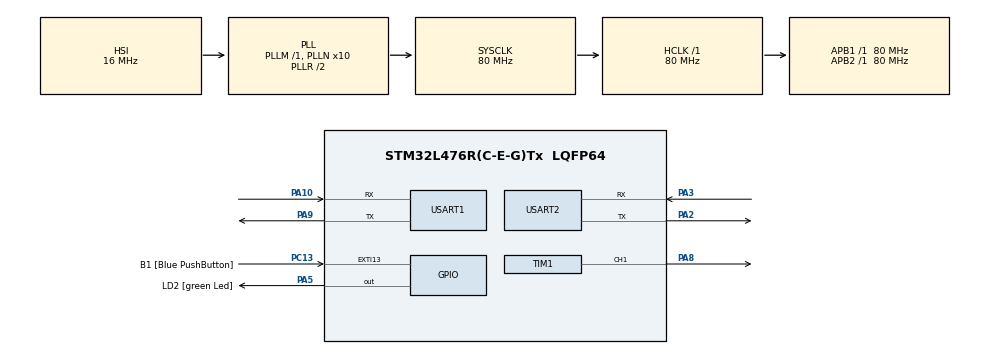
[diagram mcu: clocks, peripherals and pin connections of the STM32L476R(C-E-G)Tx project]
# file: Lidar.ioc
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Dma.Request0=USART1_RX
Dma.USART1_RX.0.Direction=DMA_PERIPH_TO_MEMORY
Dma.USART1_RX.0.Instance=DMA1_Channel5
Dma.USART1_RX.0.MemDataAlignment=DMA_MDATAALIGN_BYTE
Dma.USART1_RX.0.MemInc=DMA_MINC_ENABLE
Dma.USART1_RX.0.Mode=DMA_CIRCULAR
Dma.USART1_RX.0.PeriphDataAlignment=DMA_PDATAALIGN_BYTE
Dma.USART1_RX.0.PeriphInc=DMA_PINC_DISABLE
Dma.USART1_RX.0.Priority=DMA_PRIORITY_MEDIUM
FREERTOS.INCLUDE_uxTaskGetStackHighWaterMark2=1
FREERTOS.Tasks01=main,24,256,StartMain,Default,NULL,Dynamic,NULL,NULL;ParseLiDAR,25,512,StartParseLiDAR,Default,NULL,Dynamic,NULL,NULL
FREERTOS.configTOTAL_HEAP_SIZE=10000
FREERTOS.configUSE_NEWLIB_REENTRANT=1
Mcu.Family=STM32L4
Mcu.Name=STM32L476R(C-E-G)Tx
Mcu.Package=LQFP64
NVIC.DMA1_Channel5_IRQn=true\:5\:0\:false\:false\:true\:true\:false\:true\:true
NVIC.PriorityGroup=NVIC_PRIORITYGROUP_4
NVIC.TIM6_DAC_IRQn=true\:15\:0\:false\:false\:true\:false\:false\:true\:true
NVIC.TimeBase=TIM6_DAC_IRQn
NVIC.TimeBaseIP=TIM6
NVIC.USART1_IRQn=true\:5\:0\:false\:false\:true\:true\:true\:true\:true
PA10.Mode=Asynchronous
PA10.Signal=USART1_RX
PA13\ (JTMS-SWDIO).GPIO_Label=TMS
PA13\ (JTMS-SWDIO).Mode=Serial_Wire
PA13\ (JTMS-SWDIO).Signal=SYS_JTMS-SWDIO
PA14\ (JTCK-SWCLK).GPIO_Label=TCK
PA14\ (JTCK-SWCLK).Mode=Serial_Wire
PA14\ (JTCK-SWCLK).Signal=SYS_JTCK-SWCLK
PA2.GPIO_Mode=GPIO_MODE_AF_PP
PA2.GPIO_ModeDefaultPP=GPIO_MODE_AF_PP
PA2.GPIO_PuPd=GPIO_NOPULL
PA2.GPIO_Speed=GPIO_SPEED_FREQ_VERY_HIGH
PA2.Mode=Asynchronous
PA2.Signal=USART2_TX
PA3.GPIO_Mode=GPIO_MODE_AF_PP
PA3.GPIO_ModeDefaultPP=GPIO_MODE_AF_PP
PA3.GPIO_PuPd=GPIO_NOPULL
PA3.GPIO_Speed=GPIO_SPEED_FREQ_VERY_HIGH
PA3.Mode=Asynchronous
PA3.Signal=USART2_RX
PA5.GPIO_Label=LD2 [green Led]
PA5.GPIO_ModeDefaultOutputPP=GPIO_MODE_OUTPUT_PP
PA5.GPIO_PuPd=GPIO_NOPULL
PA5.GPIO_Speed=GPIO_SPEED_FREQ_LOW
PA5.Signal=GPIO_Output
PA8.Signal=S_TIM1_CH1
PA9.Mode=Asynchronous
PA9.Signal=USART1_TX
PB3\ (JTDO-TRACESWO).GPIO_Label=SWO
PB3\ (JTDO-TRACESWO).Signal=SYS_JTDO-SWO
PC13.GPIO_Label=B1 [Blue PushButton]
PC13.GPIO_ModeDefaultEXTI=GPIO_MODE_IT_FALLING
PC13.GPIO_PuPd=GPIO_NOPULL
PC13.Signal=GPXTI13
PC14-OSC32_IN\ (PC14).Mode=LSE-External-Oscillator
PC14-OSC32_IN\ (PC14).Signal=RCC_OSC32_IN
PC15-OSC32_OUT\ (PC15).Mode=LSE-External-Oscillator
PC15-OSC32_OUT\ (PC15).Signal=RCC_OSC32_OUT
PH0-OSC_IN\ (PH0).Signal=RCC_OSC_IN
PH1-OSC_OUT\ (PH1).Signal=RCC_OSC_OUT
ProjectManager.HeapSize=0x200
ProjectManager.StackSize=0x400
ProjectManager.TargetToolchain=STM32CubeIDE
RCC.ADCFreq_Value=64000000
RCC.AHBFreq_Value=80000000
RCC.APB1Freq_Value=80000000
RCC.APB1TimFreq_Value=80000000
RCC.APB2Freq_Value=80000000
RCC.APB2TimFreq_Value=80000000
RCC.CortexFreq_Value=80000000
RCC.HCLKFreq_Value=80000000
RCC.HSE_VALUE=8000000
RCC.HSI_VALUE=16000000
RCC.MSI_VALUE=4000000
RCC.PLLN=10
RCC.PLLSourceVirtual=RCC_PLLSOURCE_HSI
RCC.PREFETCH_ENABLE=1
RCC.SYSCLKFreq_VALUE=80000000
RCC.SYSCLKSource=RCC_SYSCLKSOURCE_PLLCLK
RCC.USBFreq_Value=64000000
RCC.VCOOutputFreq_Value=160000000
SH.S_TIM1_CH1.0=TIM1_CH1,PWM Generation1 CH1
TIM1.AutoReloadPreload=TIM_AUTORELOAD_PRELOAD_ENABLE
TIM1.Channel-PWM\ Generation1\ CH1=TIM_CHANNEL_1
TIM1.Period=99
TIM1.Prescaler=79
TIM1.Pulse-PWM\ Generation1\ CH1=50
USART1.VirtualMode-Asynchronous=VM_ASYNC
USART2.VirtualMode-Asynchronous=VM_ASYNC
VP_FREERTOS_VS_CMSIS_V2.Mode=CMSIS_V2
VP_SYS_VS_tim6.Mode=TIM6
VP_TIM1_VS_ClockSourceINT.Mode=Internal
board=NUCLEO-L476RG

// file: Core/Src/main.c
/* USER CODE BEGIN Header */
/**
  ******************************************************************************
  * @file           : main.c
  * @brief          : Main program body
  ******************************************************************************
  * @attention
  *
  * Copyright (c) 2025 STMicroelectronics.
  * All rights reserved.
  *
  * This software is licensed under terms that can be found in the LICENSE file
  * in the root directory of this software component.
  * If no LICENSE file comes with this software, it is provided AS-IS.
  *
  ******************************************************************************
  */
/* USER CODE END Header */
#include "main.h"
#include "cmsis_os.h"
#include "dma.h"
#include "tim.h"
#include "usart.h"
#include "gpio.h"

/* USER CODE BEGIN PV */
uint8_t uart_rx_buffer[UART_RX_BUFFER_SIZE];
uint16_t temp_buf[TEMP_BUF_SIZE];
float Anglei[TEMP_BUF_SIZE];
uint16_t LaserScan[LASERSCAN_SIZE];

// State machine
volatile uint8_t isReading = 0;
volatile uint8_t isWriting = 0;
volatile uint8_t HalfFlag = 0;
volatile uint8_t CompleteFlag = 0;
volatile uint8_t IncompletePacket = 0;
volatile uint8_t PH1 = 0;
volatile uint8_t PH2 = 0;
volatile uint8_t isPointcloud = 0;
volatile uint8_t start_to_read = 0;
volatile uint8_t reading_offset = 0;

// Extrapolated data
volatile uint16_t CT_LSN = 0;
volatile uint8_t data_size = 0;
volatile uint16_t FSA = 0;
volatile uint16_t LSA = 0;
volatile uint16_t checksum = 0;

// Data handling
volatile uint16_t XOR = 0;
volatile uint16_t read_index = 0;
volatile uint16_t write_index = 0;
volatile float start_angle = 0;
volatile float last_angle = 0;
volatile float AngleDiff = 0;
volatile float AngleCorrect = 0;
volatile uint8_t LaserScan_index = 0;

/* USER CODE END PV */

void SystemClock_Config(void);
void MX_FREERTOS_Init(void);

/* USER CODE BEGIN 0 */
int __io_putchar(int ch)
{
	HAL_UART_Transmit(&huart2,(uint8_t *)&ch,1, HAL_MAX_DELAY);
	return ch;
}
/* USER CODE END 0 */

int main(void)
{

  /* MCU Configuration--------------------------------------------------------*/

  /* Reset of all peripherals, Initializes the Flash interface and the Systick. */
  HAL_Init();

  /* Configure the system clock */
  SystemClock_Config();

  /* Initialize all configured peripherals */
  MX_GPIO_Init();
  MX_DMA_Init();
  MX_USART2_UART_Init();
  MX_TIM1_Init();
  MX_USART1_UART_Init();
  /* USER CODE BEGIN 2 */

  HAL_TIM_PWM_Start(&htim1, TIM_CHANNEL_1);

//  printf("----START----\r\n");

//  HAL_UART_Abort(&huart1);
  HAL_UART_Receive_DMA(&huart1, uart_rx_buffer, UART_RX_BUFFER_SIZE);

  /* USER CODE END 2 */

  /* Init scheduler */
  osKernelInitialize();  /* Call init function for freertos objects (in cmsis_os2.c) */
  MX_FREERTOS_Init();

  /* Start scheduler */
  osKernelStart();

  /* We should never get here as control is now taken by the scheduler */

  /* Infinite loop */
  while (1)
  {
	  printf("error\r\n");
  }
}

void SystemClock_Config(void)
{
  RCC_OscInitTypeDef RCC_OscInitStruct = {0};
  RCC_ClkInitTypeDef RCC_ClkInitStruct = {0};

  /** Configure the main internal regulator output voltage
  */
  if (HAL_PWREx_ControlVoltageScaling(PWR_REGULATOR_VOLTAGE_SCALE1) != HAL_OK)
  {
    Error_Handler();
  }

  /** Initializes the RCC Oscillators according to the specified parameters
  * in the RCC_OscInitTypeDef structure.
  */
  RCC_OscInitStruct.OscillatorType = RCC_OSCILLATORTYPE_HSI;
  RCC_OscInitStruct.HSIState = RCC_HSI_ON;
  RCC_OscInitStruct.HSICalibrationValue = RCC_HSICALIBRATION_DEFAULT;
  RCC_OscInitStruct.PLL.PLLState = RCC_PLL_ON;
  RCC_OscInitStruct.PLL.PLLSource = RCC_PLLSOURCE_HSI;
  RCC_OscInitStruct.PLL.PLLM = 1;
  RCC_OscInitStruct.PLL.PLLN = 10;
  RCC_OscInitStruct.PLL.PLLP = RCC_PLLP_DIV7;
  RCC_OscInitStruct.PLL.PLLQ = RCC_PLLQ_DIV2;
  RCC_OscInitStruct.PLL.PLLR = RCC_PLLR_DIV2;
  if (HAL_RCC_OscConfig(&RCC_OscInitStruct) != HAL_OK)
  {
    Error_Handler();
  }

  /** Initializes the CPU, AHB and APB buses clocks
  */
  RCC_ClkInitStruct.ClockType = RCC_CLOCKTYPE_HCLK|RCC_CLOCKTYPE_SYSCLK
                              |RCC_CLOCKTYPE_PCLK1|RCC_CLOCKTYPE_PCLK2;
  RCC_ClkInitStruct.SYSCLKSource = RCC_SYSCLKSOURCE_PLLCLK;
  RCC_ClkInitStruct.AHBCLKDivider = RCC_SYSCLK_DIV1;
  RCC_ClkInitStruct.APB1CLKDivider = RCC_HCLK_DIV1;
  RCC_ClkInitStruct.APB2CLKDivider = RCC_HCLK_DIV1;

  if (HAL_RCC_ClockConfig(&RCC_ClkInitStruct, FLASH_LATENCY_4) != HAL_OK)
  {
    Error_Handler();
  }
}

void HAL_TIM_PeriodElapsedCallback(TIM_HandleTypeDef *htim)
{
  if (htim->Instance == TIM6)
  {
    HAL_IncTick();
  }
}

void Error_Handler(void)
{
  __disable_irq();
  while (1)
  {
  }
}

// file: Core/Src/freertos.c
/* USER CODE BEGIN Header */
/**
  ******************************************************************************
  * File Name          : freertos.c
  * Description        : Code for freertos applications
  ******************************************************************************
  * @attention
  *
  * Copyright (c) 2025 STMicroelectronics.
  * All rights reserved.
  *
  * This software is licensed under terms that can be found in the LICENSE file
  * in the root directory of this software component.
  * If no LICENSE file comes with this software, it is provided AS-IS.
  *
  ******************************************************************************
  */
/* USER CODE END Header */

#include "FreeRTOS.h"
#include "task.h"
#include "main.h"
#include "cmsis_os.h"

/* USER CODE BEGIN Variables */
extern uint8_t uart_rx_buffer[UART_RX_BUFFER_SIZE];
extern uint16_t temp_buf[TEMP_BUF_SIZE];
extern float Anglei[TEMP_BUF_SIZE];
extern uint16_t LaserScan[LASERSCAN_SIZE];

// State machine
extern volatile uint8_t isReading;
extern volatile uint8_t isWriting;
extern volatile uint8_t HalfFlag;
extern volatile uint8_t CompleteFlag;
extern volatile uint8_t PH1;
extern volatile uint8_t PH2;
extern volatile uint8_t isPointcloud;
extern volatile uint8_t start_to_read;
extern volatile uint8_t reading_offset;

extern UART_HandleTypeDef huart1;

// Extrapolated data
extern volatile uint16_t CT_LSN;
extern volatile uint8_t data_size;
extern volatile uint16_t FSA;
extern volatile uint16_t LSA;
extern volatile uint16_t checksum;

// Data handling
extern volatile uint16_t read_index;
extern volatile uint16_t write_index;
extern volatile uint16_t XOR;
extern volatile float start_angle;
extern volatile float last_angle;
extern volatile float AngleDiff;
extern volatile float AngleCorrect;
extern volatile LaserScan_index;

/* USER CODE END Variables */
/* Definitions for main */
osThreadId_t mainHandle;
const osThreadAttr_t main_attributes = {
  .name = "main",
  .stack_size = 256 * 4,
  .priority = (osPriority_t) osPriorityNormal,
};
/* Definitions for ParseLiDAR */
osThreadId_t ParseLiDARHandle;
const osThreadAttr_t ParseLiDAR_attributes = {
  .name = "ParseLiDAR",
  .stack_size = 512 * 4,
  .priority = (osPriority_t) osPriorityNormal1,
};

void StartMain(void *argument);
void StartParseLiDAR(void *argument);

void MX_FREERTOS_Init(void); /* (MISRA C 2004 rule 8.1) */

void MX_FREERTOS_Init(void) {

  /* Create the thread(s) */
  /* creation of main */
  mainHandle = osThreadNew(StartMain, NULL, &main_attributes);

  /* creation of ParseLiDAR */
  ParseLiDARHandle = osThreadNew(StartParseLiDAR, NULL, &ParseLiDAR_attributes);

}

void StartMain(void *argument)
{
  /* USER CODE BEGIN StartMain */

	//TickType_t xLastWakeTime = xTaskGetTickCount();

  /* Infinite loop */
  for(;;)
  {
	HAL_GPIO_TogglePin(LD2_GPIO_Port, LD2_Pin);
    osDelay(500);
  }
  /* USER CODE END StartMain */
}

void StartParseLiDAR(void *argument)
{
  /* USER CODE BEGIN StartParseLiDAR */

  /* Infinite loop */
  for(;;)
  {
	  if (isReading && (HalfFlag || CompleteFlag)){
		  while (read_index != (start_to_read + UART_RX_BUFFER_SIZE)){
			  PH1 = (uart_rx_buffer[read_index] == 0xAA)
					  ? 1 : 0;
			  PH2 = (PH1 && uart_rx_buffer[(read_index + 1) % UART_RX_BUFFER_SIZE] == 0x55)
					  ? 1 : 0;
			  if (PH1){
				  if (PH2 && (uart_rx_buffer[(read_index + 2) % UART_RX_BUFFER_SIZE] & 0x01) == 0){
					  isPointcloud = 1;
				  }
				  else{
					  PH1 = 0;
					  PH2 = 0;
				  }
			  }
			  if (isPointcloud && (start_to_read + UART_RX_BUFFER_SIZE - read_index) > 10){
				  CT_LSN = ((uart_rx_buffer[(read_index + 3) % UART_RX_BUFFER_SIZE]) << 8) |
						  (uart_rx_buffer[(read_index + 2) % UART_RX_BUFFER_SIZE]);

				  data_size = uart_rx_buffer[read_index + 3];

				  FSA = ((uart_rx_buffer[(read_index + 5) % UART_RX_BUFFER_SIZE]) << 8) |
								  (uart_rx_buffer[(read_index + 4) % UART_RX_BUFFER_SIZE]);

				  LSA = ((uart_rx_buffer[(read_index + 7) % UART_RX_BUFFER_SIZE]) <<8) |
								  (uart_rx_buffer[(read_index + 6) % UART_RX_BUFFER_SIZE]);

				  checksum = (uint16_t)((uart_rx_buffer[(read_index + 8) % UART_RX_BUFFER_SIZE]) <<8) |
								  (uart_rx_buffer[(read_index + 9) % UART_RX_BUFFER_SIZE]);
				  read_index += 10;
				  if ((start_to_read + UART_RX_BUFFER_SIZE - read_index) >= data_size){
//					  printf("%02x\r\n", ((CT_LSN & 0x00FF) << 8) | (CT_LSN & 0xFF00) >> 8);
//					  printf("%02x\r\n", ((FSA & 0x00FF )<< 8) | (FSA & 0xFF00) >> 8);
//					  printf("%02x\r\n", ((LSA & 0x00FF) << 8) | (LSA & 0xFF00) >> 8);
					  XOR = 0xAA55 ^
							  (((CT_LSN & 0x00FF) << 8) | ((CT_LSN & 0xFF00) >> 8)) ^
							  (((FSA & 0x00FF )<< 8) | ((FSA & 0xFF00) >> 8)) ^
							  (((LSA & 0x00FF) << 8) | ((LSA & 0xFF00) >> 8));
					  for (int i = 0; i < data_size*2; i+=2){
//						  printf("%02x\r\n",((uart_rx_buffer[(read_index + i)] << 8)|
//								  (uart_rx_buffer[(read_index + i + 1) % UART_RX_BUFFER_SIZE])));
						  XOR ^= (uint16_t)((uart_rx_buffer[(read_index + i)] << 8)|
								  (uart_rx_buffer[(read_index + i + 1) % UART_RX_BUFFER_SIZE]));
					  }
					  if (checksum == XOR){ //store data
						  FSA = (FSA >> 1) / 64;
						  LSA = (LSA >> 1) / 64;
						  for (int i = 0; i < data_size * 2; i += 2){
							  temp_buf[(int)(roundf(i / 2.0f))] = ((uart_rx_buffer[(read_index + i + 1) % UART_RX_BUFFER_SIZE] << 8)|
									  	  	  (uart_rx_buffer[(read_index + i) % UART_RX_BUFFER_SIZE])) / 4;
						  }
						  isWriting = 1;
						  PH1 = 0;
						  PH2 = 0;
						  isPointcloud = 0;
					  }
					  else {
						  PH1 = 0;
						  PH2 = 0;
						  isPointcloud = 0;
					  }
					  read_index = (read_index + data_size*2 - 1) % UART_RX_BUFFER_SIZE;
				  }
				  else { //handle incomplete message
//					  isReading = 0;
					  HalfFlag = 0;
					  CompleteFlag = 0;
					  break;
				  }
			  }
			  if (isWriting){
			  		  if (LSA < FSA) {
			  		      LSA += 360.0;
			  		  }
			  		  AngleDiff = LSA - FSA;
			  		  for (int i = 2; i < data_size; i ++){
			  			  AngleCorrect = ((temp_buf[i]) == 0) ? 0 : atanf(21.8 * ((155.3 - temp_buf[i]) / (155.3 * temp_buf[i])));
			  			  LaserScan_index = (int)(roundf((float)((((/*(*/(AngleDiff / (data_size -1)) * (i-1) + FSA + AngleCorrect) /* * 2.0f) / 2.0f*/))/** 2*/)))% LASERSCAN_SIZE;
//			  			  printf("Index %d\r\n", LaserScan_index);
			  		  }
			  		  for (int i = 0; i < data_size; i++){
			  			  LaserScan[LaserScan_index] = temp_buf[i];
//						  printf("%d\r\n", LaserScan[LaserScan_index]);
			  		  }
			  		  printf("--START--\r\n");
			  		  for (int i = 0; i < LASERSCAN_SIZE; i++){
			  			  printf("%d\r\n", LaserScan[i]);
			  		  }
			  		  isWriting = 0;
			  }
			  read_index = (read_index + 1) % UART_RX_BUFFER_SIZE;
		  }
	  osDelay(1);
	  }
  }
  /* USER CODE END StartParseLiDAR */
}
